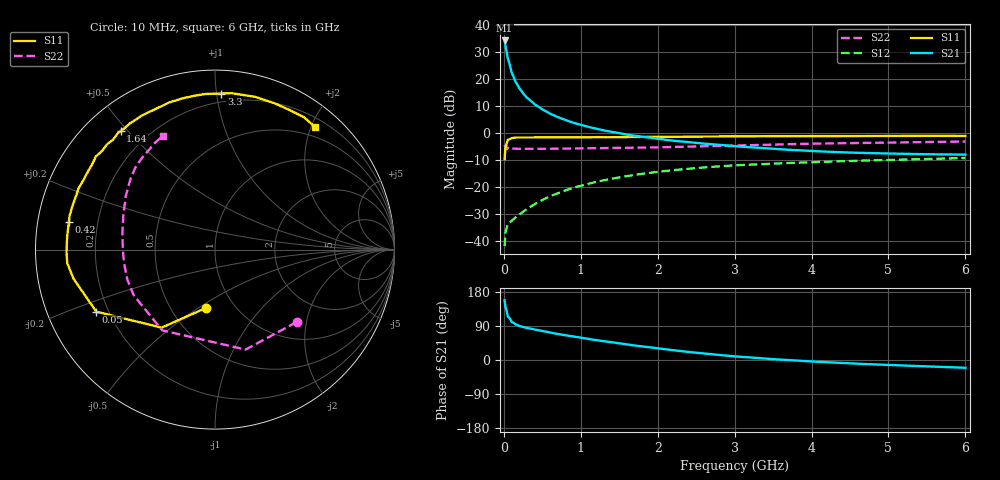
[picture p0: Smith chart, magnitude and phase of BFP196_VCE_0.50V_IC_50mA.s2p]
! Infineon Technologies  Discrete & RF Semiconductors
! BFP196
! VCE = 0.50V,  IC =  50mA
! Common Emitter S-Parameters:  Jan 2016
# GHz  S  MA  R  50
!  f  S11  S21  S12  S22
! GHz  MAG  ANG  MAG  ANG  MAG  ANG  MAG  ANG
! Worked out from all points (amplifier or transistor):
!   210 points, 10 MHz to 6 GHz, reference 50 ohm
!   highest |S21| = 34.1 dB at 10 MHz (marker M1)
!   |S21| within 3 dB of that: start of sweep to 29.01 MHz
!   unconditionally stable (mu >= 1): 265.3 MHz to end of sweep
!   at 185 MHz: K = 0.84, MSG = 23.9 dB, |S12| = -30.4 dB
!   at 1.52 GHz: K = 1.19, MAG = 5.4 dB, |S12| = -16.3 dB
!   at 6 GHz: K = 1.08, MAG = -1.1 dB, |S12| = -9.2 dB
!   S11 on the Smith chart (normalised r, x): 10 MHz: 0.74, -0.54; 50 MHz: 0.15, -0.24; 420 MHz: 0.09, +0.09; 1.64 GHz: 0.10, +0.48; 3.3 GHz: 0.14, +1.03; 6 GHz: 0.34, +2.06
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0.01  0.329 -98.8  50.92 157.6  0.0082 67.6  0.6082 -41.6
0.02  0.527 -124.4  41.91 140.2  0.0143 54.7  0.5825 -73.0
0.05  0.7463 -152.4  24.28 115.2  0.0208 38.3  0.5374 -123.1
0.1  0.8045 -168.3  13.17 100.8  0.0241 37.2  0.5196 -150.5
0.15  0.8267 -174.8  8.93 94.3  0.0277 42.5  0.5161 -160.8
0.2  0.8274 -179.0  6.746 90.0  0.0313 46.3  0.5124 -166.3
0.24  0.8263 178.1  5.654 87.7  0.0345 49.5  0.5119 -169.3
0.26  0.8264 176.9  5.204 86.6  0.0362 50.9  0.5118 -170.5
0.3  0.827 175.0  4.493 84.6  0.0397 53.4  0.5116 -172.4
0.4  0.8287 170.0  3.396 80.2  0.0486 56.6  0.5126 -176.0
0.42  0.8291 169.4  3.262 79.6  0.0505 57.1  0.5125 -176.5
0.5  0.8317 166.8  2.731 76.5  0.0582 58.7  0.5123 -178.6
0.6  0.8307 162.8  2.284 72.5  0.0681 59.7  0.5129 179.4
0.7  0.8297 158.8  1.97 68.5  0.0774 59.8  0.5145 177.6
1.02  0.8311 148.0  1.39 58.3  0.1084 57.4  0.5197 172.9
1.64  0.844 128.5  0.914 39.9  0.1638 48.7  0.5327 164.7
2.02  0.8506 118.2  0.774 30.4  0.1937 42.4  0.5446 159.8
3.1  0.8682 91.6  0.559 8.3  0.2573 25.1  0.5919 145.2
3.3  0.8703 87.7  0.534 5.4  0.2654 22.2  0.6021 142.7
4.1  0.8789 73.8  0.459 -4.9  0.293 11.9  0.6396 133.0
5.1  0.8827 60.5  0.416 -14.0  0.3218 0.7  0.6686 123.0
6  0.8817 50.8  0.4 -20.5  0.3461 -9.2  0.6976 114.4
